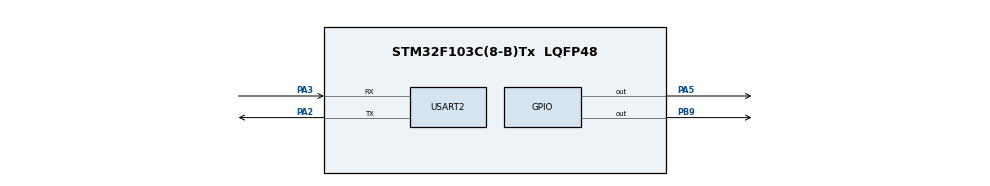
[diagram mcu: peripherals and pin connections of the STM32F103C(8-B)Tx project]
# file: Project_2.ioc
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Mcu.Family=STM32F1
Mcu.Name=STM32F103C(8-B)Tx
Mcu.Package=LQFP48
NVIC.PriorityGroup=NVIC_PRIORITYGROUP_4
PA13.Mode=Serial_Wire
PA13.Signal=SYS_JTMS-SWDIO
PA14.Mode=Serial_Wire
PA14.Signal=SYS_JTCK-SWCLK
PA2.Mode=Asynchronous
PA2.Signal=USART2_TX
PA3.Mode=Asynchronous
PA3.Signal=USART2_RX
PA5.Signal=GPIO_Output
PB9.GPIO_ModeDefaultOutputPP=GPIO_MODE_OUTPUT_OD
PB9.GPIO_PuPd=GPIO_NOPULL
PB9.Signal=GPIO_Output
PD0-OSC_IN.Mode=HSE-External-Oscillator
PD0-OSC_IN.Signal=RCC_OSC_IN
PD1-OSC_OUT.Mode=HSE-External-Oscillator
PD1-OSC_OUT.Signal=RCC_OSC_OUT
ProjectManager.HeapSize=0x200
ProjectManager.StackSize=0x400
ProjectManager.TargetToolchain=STM32CubeIDE
RCC.APB1Freq_Value=8000000
RCC.APB2Freq_Value=8000000
TIM3.Period=1000
TIM3.Prescaler=7
TIM3.TIM_MasterOutputTrigger=TIM_TRGO_UPDATE
USART2.VirtualMode=VM_ASYNC
VP_TIM3_VS_ClockSourceINT.Mode=Internal
board=custom

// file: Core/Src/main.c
/* USER CODE BEGIN Header */
/**
  ******************************************************************************
  * @file           : main.c
  * @brief          : Main program body
  ******************************************************************************
  * @attention
  *
  * Copyright (c) 2024 STMicroelectronics.
  * All rights reserved.
  *
  * This software is licensed under terms that can be found in the LICENSE file
  * in the root directory of this software component.
  * If no LICENSE file comes with this software, it is provided AS-IS.
  *
  ******************************************************************************
  */
/* USER CODE END Header */
#include "main.h"

/* USER CODE BEGIN Includes */
uint8_t ds_buff[9];                  //сюда принимаем данные
/* USER CODE END Includes */

TIM_HandleTypeDef htim3;

UART_HandleTypeDef huart2;

/* USER CODE BEGIN PV */
#define PORT  GPIOB   //указать порт, к которому подключены датчики
#define PIN 9
#define TIMER TIM3    //задаем таймер, используемый для формирования задержек
#define SKIP_ROM_ADR 0xCC // пропуск адресации
#define CONVERT_TEMP 0x44 // запускает преобразование температуры
#define READ_DATA_COMAND 0xBE //команда чтения содержимого памяти

 uint16_t	temp;
// uint32_t temp;
 char znak =  '-' ;
/* USER CODE END PV */

void SystemClock_Config(void);
static void MX_GPIO_Init(void);
static void MX_TIM3_Init(void);
static void MX_USART2_UART_Init(void);

/* USER CODE BEGIN 0 */
//*********************************************************************************************
//function  импульс сброса                                                                   //
//argument  маска порта                                                                      //
//return    0 - устройство обнаружен, 1 - не обнаружено, 2 - к.з. на линии                   //
//*********************************************************************************************
uint8_t ds_reset_pulse(uint16_t PinMask)
{
   uint16_t result;

   if((PORT->IDR & PinMask)==0)  return 2;         //проверить линию на отсутствие замыкания
   PORT->ODR &= ~PinMask;                          //потянуть шину к земле
   TIMER->CNT=0;
   while(TIMER->CNT<480){};                        //ждать 480 микросекунд
   PORT->ODR |=  PinMask;                          //отпустить шину
   while(TIMER->CNT<550){};                        //ждать 70 микросекунд
   result =  PORT->IDR & PinMask;                 //прочитать шину
   while(TIMER->CNT<960){};                        //дождаться окончания инициализации
   if(result) return 1;                            //датчик не обнаружен
   return 0;                                       //датчик обнаружен
}

//*********************************************************************************************
//function  передача бита                                                                    //
//argument  значение передаваемого бита,маска порта                                          //
//return    none                                                                             //
//*********************************************************************************************
void ds_write_bit(uint8_t bit,uint16_t PinMask)
{
   TIMER->CNT=0;
   PORT->ODR &= ~PinMask;                          //потянуть шину к земле
   while(TIMER->CNT<2){};                          //ждать 1 микросекунду
   if(bit) PORT->ODR |=  PinMask;                  //если передаем 1, то отпускаем шину
   while(TIMER->CNT<60){};                         //задержка 60 микросекунд
   PORT->ODR |=  PinMask;                          //отпускаем шину
}

//*********************************************************************************************
//function  чтение бита                                                                      //
//argument  маска порта                                                                      //
//return    прочитанный бит                                                                  //
//*********************************************************************************************
uint16_t ds_read_bit(uint16_t PinMask)
{
   uint16_t result;

  TIMER->CNT=0;
   PORT->ODR &= ~PinMask;                          //потянуть шину к земле
   while(TIMER->CNT<2){};
   PORT->ODR |=  PinMask;                          //отпускаем шину
   while(TIMER->CNT<15){};                         //задержка 15 микросекунд
   result     =  PORT->IDR & PinMask;              //прочитать шину
   while(TIMER->CNT<60){};                         //оставшееся время
   return result;                                  //возвратить результат
}
//*********************************************************************************************
//function  запись байта                                                                     //
//argument  передаваемый байт,маска порта                                                    //
//return    none                                                                             //
//*********************************************************************************************
void ds_write_byte(uint8_t byte, uint16_t PinMask)
{
   uint8_t i;
   for(i=0;i<8;i++) ds_write_bit(byte&(1<<i), PinMask);
}
//*********************************************************************************************
//function  чтение байта                                                                     //
//argument  маска порта                                                                      //
//return    прочитанный байт                                                                 //
//*********************************************************************************************
uint8_t ds_read_byte(uint16_t PinMask)
{
   uint8_t i,result = 0;
   for(i=0;i<8;i++)
   if(ds_read_bit(PinMask)) result |= 1<<i;
   return result;
}
/* USER CODE END 0 */

int main(void)
{

  /* MCU Configuration--------------------------------------------------------*/

  /* Reset of all peripherals, Initializes the Flash interface and the Systick. */
  HAL_Init();

  /* Configure the system clock */
  SystemClock_Config();

  /* Initialize all configured peripherals */
  MX_GPIO_Init();
  MX_TIM3_Init();
  MX_USART2_UART_Init();
  /* USER CODE BEGIN 2 */
HAL_TIM_Base_Start(&htim3);
  /* USER CODE END 2 */

  /* Infinite loop */
  /* USER CODE BEGIN WHILE */
  while (1)
  {
/////////////////////////////////////////////////////////////////////////
/////////////////////////////////////////////////////////////////////////

ds_reset_pulse(1<<PIN);          //послать импульс сброса                                       /
ds_write_byte(SKIP_ROM_ADR,1<<PIN);//разрешить доступ к датчику не используя адрес
ds_write_byte(CONVERT_TEMP,1<<PIN);      //запустить преобразование
HAL_Delay (1000);               //дать время для измерения
ds_reset_pulse(1<<PIN);          //послать импульс сброса
ds_write_byte(SKIP_ROM_ADR,1<<PIN);//разрешить доступ к датчику не используя адрес
ds_write_byte(READ_DATA_COMAND,1<<PIN);      //команда, заставляющая датчик выдать 9 байт своей памяти
for(int i=0; i<9; i++ )           //прочитать 9 байт в массив
ds_buff[i] = ds_read_byte(1<<PIN);
//////////////////////////////////////////////////////////////////////////
//////////////////////////////////////////////////////////////////////////

//  ds_buff[1]=255;//255 проверка отрицательных температур
//	ds_buff[0]=94;//94//248

//		temp = ds_buff[1];
//		temp = temp<<8;
//		temp |= ds_buff[0];
//		//переводим в градусы
//		temp *= 0.0625;//0.0625 градуса на единицу данных
//		if(temp > 1000)//если температура <0    1111 1111 1111 1000 = 65528
//	{
//		temp = 4096 - temp;
//	  znak =  '-';
//	}else znak =  '+';

		temp = ds_buff[1];
		temp = temp<<8;
		temp |= ds_buff[0];
		temp =temp>>4;//отбрасываем дробную чать
		if(temp > 1000)//если температура <0
	{
		temp = 4096 - temp;
	  znak =  '-';
	}else znak =  '+';
	HAL_UART_Transmit(&huart2, temp, 27, 10);
	HAL_Delay(1000);

/////////////////////////////////////////////////////////////////////////
/////////////////////////////////////////////////////////////////////////
    /* USER CODE END WHILE */

  }
}

void SystemClock_Config(void)
{
  RCC_OscInitTypeDef RCC_OscInitStruct = {0};
  RCC_ClkInitTypeDef RCC_ClkInitStruct = {0};

  /** Initializes the RCC Oscillators according to the specified parameters
  * in the RCC_OscInitTypeDef structure.
  */
  RCC_OscInitStruct.OscillatorType = RCC_OSCILLATORTYPE_HSI;
  RCC_OscInitStruct.HSIState = RCC_HSI_ON;
  RCC_OscInitStruct.HSICalibrationValue = RCC_HSICALIBRATION_DEFAULT;
  RCC_OscInitStruct.PLL.PLLState = RCC_PLL_NONE;
  if (HAL_RCC_OscConfig(&RCC_OscInitStruct) != HAL_OK)
  {
    Error_Handler();
  }

  /** Initializes the CPU, AHB and APB buses clocks
  */
  RCC_ClkInitStruct.ClockType = RCC_CLOCKTYPE_HCLK|RCC_CLOCKTYPE_SYSCLK
                              |RCC_CLOCKTYPE_PCLK1|RCC_CLOCKTYPE_PCLK2;
  RCC_ClkInitStruct.SYSCLKSource = RCC_SYSCLKSOURCE_HSI;
  RCC_ClkInitStruct.AHBCLKDivider = RCC_SYSCLK_DIV1;
  RCC_ClkInitStruct.APB1CLKDivider = RCC_HCLK_DIV1;
  RCC_ClkInitStruct.APB2CLKDivider = RCC_HCLK_DIV1;

  if (HAL_RCC_ClockConfig(&RCC_ClkInitStruct, FLASH_LATENCY_0) != HAL_OK)
  {
    Error_Handler();
  }
}

static void MX_TIM3_Init(void)
{

  TIM_ClockConfigTypeDef sClockSourceConfig = {0};
  TIM_MasterConfigTypeDef sMasterConfig = {0};

  htim3.Instance = TIM3;
  htim3.Init.Prescaler = 7;
  htim3.Init.CounterMode = TIM_COUNTERMODE_UP;
  htim3.Init.Period = 1000;
  htim3.Init.ClockDivision = TIM_CLOCKDIVISION_DIV1;
  htim3.Init.AutoReloadPreload = TIM_AUTORELOAD_PRELOAD_DISABLE;
  if (HAL_TIM_Base_Init(&htim3) != HAL_OK)
  {
    Error_Handler();
  }
  sClockSourceConfig.ClockSource = TIM_CLOCKSOURCE_INTERNAL;
  if (HAL_TIM_ConfigClockSource(&htim3, &sClockSourceConfig) != HAL_OK)
  {
    Error_Handler();
  }
  sMasterConfig.MasterOutputTrigger = TIM_TRGO_UPDATE;
  sMasterConfig.MasterSlaveMode = TIM_MASTERSLAVEMODE_DISABLE;
  if (HAL_TIMEx_MasterConfigSynchronization(&htim3, &sMasterConfig) != HAL_OK)
  {
    Error_Handler();
  }

}

static void MX_USART2_UART_Init(void)
{

  huart2.Instance = USART2;
  huart2.Init.BaudRate = 115200;
  huart2.Init.WordLength = UART_WORDLENGTH_8B;
  huart2.Init.StopBits = UART_STOPBITS_1;
  huart2.Init.Parity = UART_PARITY_NONE;
  huart2.Init.Mode = UART_MODE_TX_RX;
  huart2.Init.HwFlowCtl = UART_HWCONTROL_NONE;
  huart2.Init.OverSampling = UART_OVERSAMPLING_16;
  if (HAL_UART_Init(&huart2) != HAL_OK)
  {
    Error_Handler();
  }

}

static void MX_GPIO_Init(void)
{
  GPIO_InitTypeDef GPIO_InitStruct = {0};

  /* GPIO Ports Clock Enable */
  __HAL_RCC_GPIOD_CLK_ENABLE();
  __HAL_RCC_GPIOA_CLK_ENABLE();
  __HAL_RCC_GPIOB_CLK_ENABLE();

  /*Configure GPIO pin Output Level */
  HAL_GPIO_WritePin(GPIOA, GPIO_PIN_5, GPIO_PIN_RESET);

  /*Configure GPIO pin Output Level */
  HAL_GPIO_WritePin(GPIOB, GPIO_PIN_9, GPIO_PIN_RESET);

  /*Configure GPIO pin : PA5 */
  GPIO_InitStruct.Pin = GPIO_PIN_5;
  GPIO_InitStruct.Mode = GPIO_MODE_OUTPUT_PP;
  GPIO_InitStruct.Pull = GPIO_NOPULL;
  GPIO_InitStruct.Speed = GPIO_SPEED_FREQ_LOW;
  HAL_GPIO_Init(GPIOA, &GPIO_InitStruct);

  /*Configure GPIO pin : PB9 */
  GPIO_InitStruct.Pin = GPIO_PIN_9;
  GPIO_InitStruct.Mode = GPIO_MODE_OUTPUT_OD;
  GPIO_InitStruct.Pull = GPIO_NOPULL;
  GPIO_InitStruct.Speed = GPIO_SPEED_FREQ_LOW;
  HAL_GPIO_Init(GPIOB, &GPIO_InitStruct);

}

void Error_Handler(void)
{
  __disable_irq();
  while (1)
  {
  }
}
